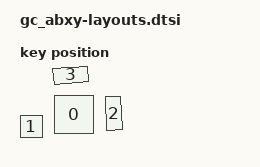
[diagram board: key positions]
/*
 * gc-abxy physical layout: GameCube ABXY cluster (A centre, Y top, X right, B lower-left).
 * Key positions: 0 = A, 1 = B, 2 = X, 3 = Y. Units are 1/100 key. The rear PROFILE button is not a key (see the overlay).
 */
#include <physical_layouts.dtsi>

/ {
    gc_abxy_layout: gc_abxy_layout {
        compatible = "zmk,physical-layout";
        display-name = "GC ABXY";

        /* Sizes and positions follow the real buttons (measured from a 300 dpi scan of the front cover):
         * A phi16.2 and B phi9.9 as squares (ZMK Studio draws every key as a rectangle with a fixed 4 px corner,
         * so a circle is not possible), X and Y as 7.5 x 14.6 mm bars tilted to follow their arc around A.
         * The whole cluster is turned 5 deg counter-clockwise like the real controller (same as the manual figure).
         * 1 key unit = 19.05 mm; r is 1/100 deg, positive = clockwise; rx/ry is the absolute pivot, set to each key's
         * own centre (Studio reads rx = 0 as the layout origin, not the key's corner).
         */
        keys  //                     w    h    x    y     rot   rx   ry
            = <&key_physical_attrs  85   85   69   61       0  112  104>   /* A */
            , <&key_physical_attrs  52   52    0  102       0   26  128>   /* B */
            , <&key_physical_attrs  39   76  172   63    (-220) 191  101>   /* X */
            , <&key_physical_attrs  77   39   67    5    (-450) 106   25>   /* Y */
            ;
    };
};
